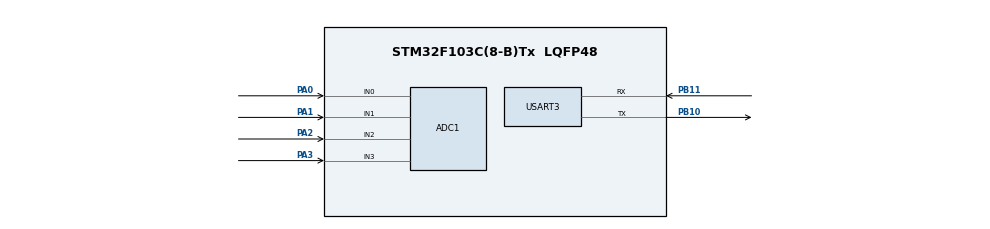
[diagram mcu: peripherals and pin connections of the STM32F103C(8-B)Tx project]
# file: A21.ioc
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ADC1.Channel-0\#ChannelRegularConversion=ADC_CHANNEL_0
ADC1.Channel-1\#ChannelRegularConversion=ADC_CHANNEL_1
ADC1.Channel-2\#ChannelRegularConversion=ADC_CHANNEL_2
ADC1.Channel-3\#ChannelRegularConversion=ADC_CHANNEL_3
ADC1.ContinuousConvMode=DISABLE
ADC1.NbrOfConversion=4
ADC1.NbrOfConversionFlag=1
ADC1.Rank-0\#ChannelRegularConversion=1
ADC1.Rank-1\#ChannelRegularConversion=2
ADC1.Rank-2\#ChannelRegularConversion=3
ADC1.Rank-3\#ChannelRegularConversion=4
ADC1.SamplingTime-0\#ChannelRegularConversion=ADC_SAMPLETIME_1CYCLE_5
ADC1.SamplingTime-1\#ChannelRegularConversion=ADC_SAMPLETIME_1CYCLE_5
ADC1.SamplingTime-2\#ChannelRegularConversion=ADC_SAMPLETIME_1CYCLE_5
ADC1.SamplingTime-3\#ChannelRegularConversion=ADC_SAMPLETIME_1CYCLE_5
ADC1.master=1
Dma.ADC1.0.Direction=DMA_PERIPH_TO_MEMORY
Dma.ADC1.0.Instance=DMA1_Channel1
Dma.ADC1.0.MemDataAlignment=DMA_MDATAALIGN_WORD
Dma.ADC1.0.MemInc=DMA_MINC_ENABLE
Dma.ADC1.0.Mode=DMA_CIRCULAR
Dma.ADC1.0.PeriphDataAlignment=DMA_PDATAALIGN_WORD
Dma.ADC1.0.PeriphInc=DMA_PINC_DISABLE
Dma.ADC1.0.Priority=DMA_PRIORITY_LOW
Dma.Request0=ADC1
Mcu.Family=STM32F1
Mcu.Name=STM32F103C(8-B)Tx
Mcu.Package=LQFP48
NVIC.ADC1_2_IRQn=true\:0\:0\:false\:false\:true\:true\:true
NVIC.DMA1_Channel1_IRQn=true\:0\:0\:false\:false\:true\:false\:true
NVIC.PriorityGroup=NVIC_PRIORITYGROUP_4
NVIC.TIM3_IRQn=true\:0\:0\:false\:false\:true\:true\:true
NVIC.USART3_IRQn=true\:0\:0\:false\:false\:true\:true\:true
PA0-WKUP.Signal=ADCx_IN0
PA1.Signal=ADCx_IN1
PA13.Mode=Serial_Wire
PA13.Signal=SYS_JTMS-SWDIO
PA14.Mode=Serial_Wire
PA14.Signal=SYS_JTCK-SWCLK
PA2.Signal=ADCx_IN2
PA3.Signal=ADCx_IN3
PB10.Mode=Asynchronous
PB10.Signal=USART3_TX
PB11.Mode=Asynchronous
PB11.Signal=USART3_RX
PD0-OSC_IN.Mode=HSE-External-Oscillator
PD0-OSC_IN.Signal=RCC_OSC_IN
PD1-OSC_OUT.Mode=HSE-External-Oscillator
PD1-OSC_OUT.Signal=RCC_OSC_OUT
ProjectManager.HeapSize=0x200
ProjectManager.StackSize=0x400
ProjectManager.TargetToolchain=MDK-ARM V5.27
RCC.APB1Freq_Value=8000000
RCC.APB2Freq_Value=8000000
SH.ADCx_IN0.0=ADC1_IN0,IN0
SH.ADCx_IN1.0=ADC1_IN1,IN1
SH.ADCx_IN2.0=ADC1_IN2,IN2
SH.ADCx_IN3.0=ADC1_IN3,IN3
TIM3.Period=1999
TIM3.Prescaler=79
USART3.VirtualMode=VM_ASYNC
VP_TIM3_VS_ClockSourceINT.Mode=Internal
board=custom

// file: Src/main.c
/* USER CODE BEGIN Header */
/**
  ******************************************************************************
  * @file           : main.c
  * @brief          : Main program body
  ******************************************************************************
  * @attention
  *
  * <h2><center>&copy; Copyright (c) 2020 STMicroelectronics.
  * All rights reserved.</center></h2>
  *
  * This software component is licensed by ST under BSD 3-Clause license,
  * the "License"; You may not use this file except in compliance with the
  * License. You may obtain a copy of the License at:
  *                        opensource.org/licenses/BSD-3-Clause
  *
  ******************************************************************************
  */
/* USER CODE END Header */

#include "main.h"
#include "adc.h"
#include "dma.h"
#include "tim.h"
#include "usart.h"
#include "gpio.h"

/* USER CODE BEGIN Includes */
#include "stdio.h"
/* USER CODE END Includes */

/* USER CODE BEGIN PTD */
uint32_t AD_DMA[4];
uint16_t AD[4];
/* USER CODE END PTD */

void SystemClock_Config(void);

/* USER CODE BEGIN 0 */
int fputc(int ch, FILE *f)
{
  HAL_UART_Transmit(&huart3, (uint8_t *)&ch, 1, 0xffff);
  return ch;
}

int fgetc(FILE *f)
{
  uint8_t ch = 0;
  HAL_UART_Receive(&huart3, &ch, 1, 0xffff);
  return ch;
}

typedef struct{
    double LastP;//上次估算协方差 初始化值为0.02
    double Now_P;//当前估算协方差 初始化值为0
    double out;//卡尔曼滤波器输出 初始化值为0
    double Kg;//卡尔曼增益 初始化值为0
    double Q;//过程噪声协方差 初始化值为0.001
    double R;//观测噪声协方差 初始化值为0.543
  }KFP;

KFP KFP_height[4]={{0.2,1,0,0,0.001,0.543},{0.2,1,0,0,0.001,0.543},{0.2,1,0,0,0.001,0.543},{0.2,1,0,0,0.001,0.543}};

double kalmanFilter(KFP *kfp,float input){
    //预测协方差方程：k时刻系统估算协方差 = k-1时刻的系统协方差 + 过程噪声协方差
    kfp->Now_P = kfp->LastP + kfp->Q;
    //卡尔曼增益方程：卡尔曼增益 = k时刻系统估算协方差 / （k时刻系统估算协方差 + 观测噪声协方差）
    kfp->Kg = kfp->Now_P / (kfp->Now_P + kfp->R);
    //更新最优值方程：k时刻状态变量的最优值 = 状态变量的预测值 + 卡尔曼增益 * （测量值 - 状态变量的预测值）
    kfp->out = kfp->out + kfp->Kg * (input -kfp->out);//因为这一次的预测值就是上一次的输出值
    //更新协方差方程: 本次的系统协方差付给 kfp->LastP 威下一次运算准备。
    kfp->LastP = (1-kfp->Kg) * kfp->Now_P;
    return kfp->out;
}

/* USER CODE END 0 */

int main(void)
{

  /* MCU Configuration--------------------------------------------------------*/

  /* Reset of all peripherals, Initializes the Flash interface and the Systick. */
  HAL_Init();

  /* Configure the system clock */
  SystemClock_Config();

  /* Initialize all configured peripherals */
  MX_GPIO_Init();
  MX_DMA_Init();
  MX_ADC1_Init();
  MX_TIM3_Init();
  MX_USART3_UART_Init();
  /* USER CODE BEGIN 2 */
	HAL_TIM_Base_Start_IT(&htim3);
	HAL_ADCEx_Calibration_Start(&hadc1);
  /* USER CODE END 2 */

  /* Infinite loop */
  while (1)
  {

  }
}

void SystemClock_Config(void)
{
  RCC_OscInitTypeDef RCC_OscInitStruct = {0};
  RCC_ClkInitTypeDef RCC_ClkInitStruct = {0};
  RCC_PeriphCLKInitTypeDef PeriphClkInit = {0};

  /** Initializes the CPU, AHB and APB busses clocks
  */
  RCC_OscInitStruct.OscillatorType = RCC_OSCILLATORTYPE_HSI;
  RCC_OscInitStruct.HSIState = RCC_HSI_ON;
  RCC_OscInitStruct.HSICalibrationValue = RCC_HSICALIBRATION_DEFAULT;
  RCC_OscInitStruct.PLL.PLLState = RCC_PLL_NONE;
  if (HAL_RCC_OscConfig(&RCC_OscInitStruct) != HAL_OK)
  {
    Error_Handler();
  }
  /** Initializes the CPU, AHB and APB busses clocks
  */
  RCC_ClkInitStruct.ClockType = RCC_CLOCKTYPE_HCLK|RCC_CLOCKTYPE_SYSCLK
                              |RCC_CLOCKTYPE_PCLK1|RCC_CLOCKTYPE_PCLK2;
  RCC_ClkInitStruct.SYSCLKSource = RCC_SYSCLKSOURCE_HSI;
  RCC_ClkInitStruct.AHBCLKDivider = RCC_SYSCLK_DIV1;
  RCC_ClkInitStruct.APB1CLKDivider = RCC_HCLK_DIV1;
  RCC_ClkInitStruct.APB2CLKDivider = RCC_HCLK_DIV1;

  if (HAL_RCC_ClockConfig(&RCC_ClkInitStruct, FLASH_LATENCY_0) != HAL_OK)
  {
    Error_Handler();
  }
  PeriphClkInit.PeriphClockSelection = RCC_PERIPHCLK_ADC;
  PeriphClkInit.AdcClockSelection = RCC_ADCPCLK2_DIV2;
  if (HAL_RCCEx_PeriphCLKConfig(&PeriphClkInit) != HAL_OK)
  {
    Error_Handler();
  }
}

/* USER CODE BEGIN 4 */
void HAL_TIM_PeriodElapsedCallback(TIM_HandleTypeDef *htim)    //定时器中断回调
{
		if(htim==&htim3){
			HAL_ADC_Start_DMA(&hadc1, AD_DMA, 4);

			for(int i=0;i<4;i++){
				AD[i]=(uint16_t)kalmanFilter(&KFP_height[i],(double)AD_DMA[i]);
			}
			printf("ad1=%d, ad2=%d,ad3=%d, ad4=%d, ", AD_DMA[0], AD[0], AD_DMA[1], AD[1]);
		}
}
/* USER CODE END 4 */

void Error_Handler(void)
{
}

/************************ (C) COPYRIGHT STMicroelectronics *****END OF FILE****/
